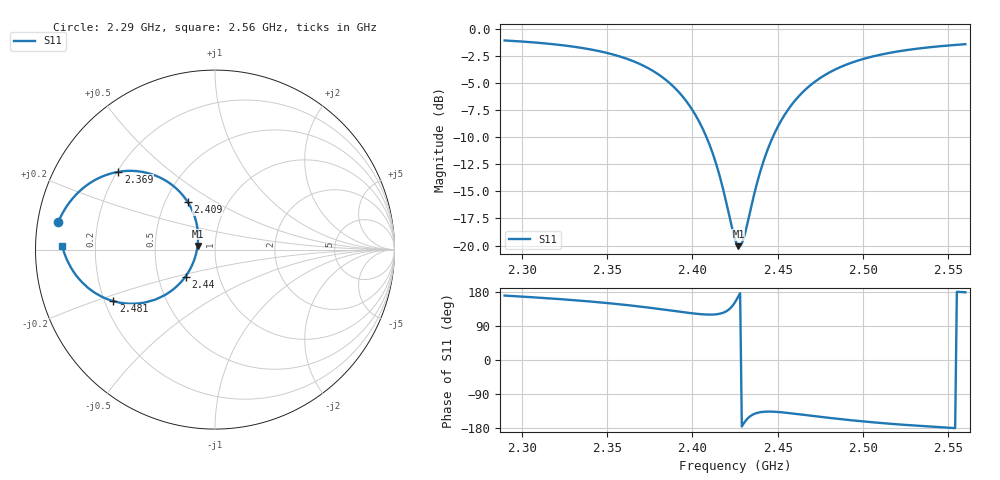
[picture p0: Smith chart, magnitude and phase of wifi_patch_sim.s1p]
! Sonnet Data File
! From: emgraph Version : 15.53-Lite
! From Emgraph Data: wifi_patch
! Data File Written: 11/01/2018 10:23:37
!< HDATE 09/20/2018 14:13:43
!< MDATE 11/01/2018 10:18:09
# GHZ S MA R 50.00000
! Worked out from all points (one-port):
!   271 points, 2.29 GHz to 2.56 GHz, reference 50 ohm
!   lowest |S11| = -20.1 dB at 2.427 GHz (marker M1), VSWR 1.22, Z = 41.1 + j1.71 ohm
!   |S11| at or under -10 dB: 2.408 GHz to 2.447 GHz (38.75 MHz wide, 1.6 % of centre)
!   S11 on the Smith chart (normalised r, x): 2.29 GHz: 0.06, +0.09; 2.369 GHz: 0.20, +0.34; 2.409 GHz: 0.65, +0.38; 2.44 GHz: 0.69, -0.22; 2.481 GHz: 0.24, -0.23; 2.56 GHz: 0.08, +0.01
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2.29  0.8865 170.0
!< P1 F=2.29 Eeff=(3.34558181 -0.0753906) Z0=(57.9705769 0.35130416) R=18.1084078 C=0.05817125
2.308  0.8671 165.1
2.324  0.8424 160.1
2.342  0.8013 153.6
2.358  0.7457 146.7
2.369  0.6914 141.2
2.381  0.6111 134.4
2.392  0.5124 127.8
2.401  0.4114 122.7
2.409  0.3072 119.8
2.413  0.2517 120.2
2.416  0.2099 122.0
2.425  0.1068 152.3
2.427  0.09931 168.0
2.428  0.09947 176.4
2.43  0.1074 -168.1
2.437  0.1824 -141.0
2.44  0.2223 -137.6
2.444  0.276 -136.2
2.448  0.328 -136.5
2.453  0.3892 -138.3
2.459  0.4557 -141.2
2.47  0.5572 -147.2
2.481  0.6349 -153.1
2.493  0.6984 -158.9
2.507  0.7519 -164.9
2.527  0.8032 -172.0
2.56  0.8519 178.7
